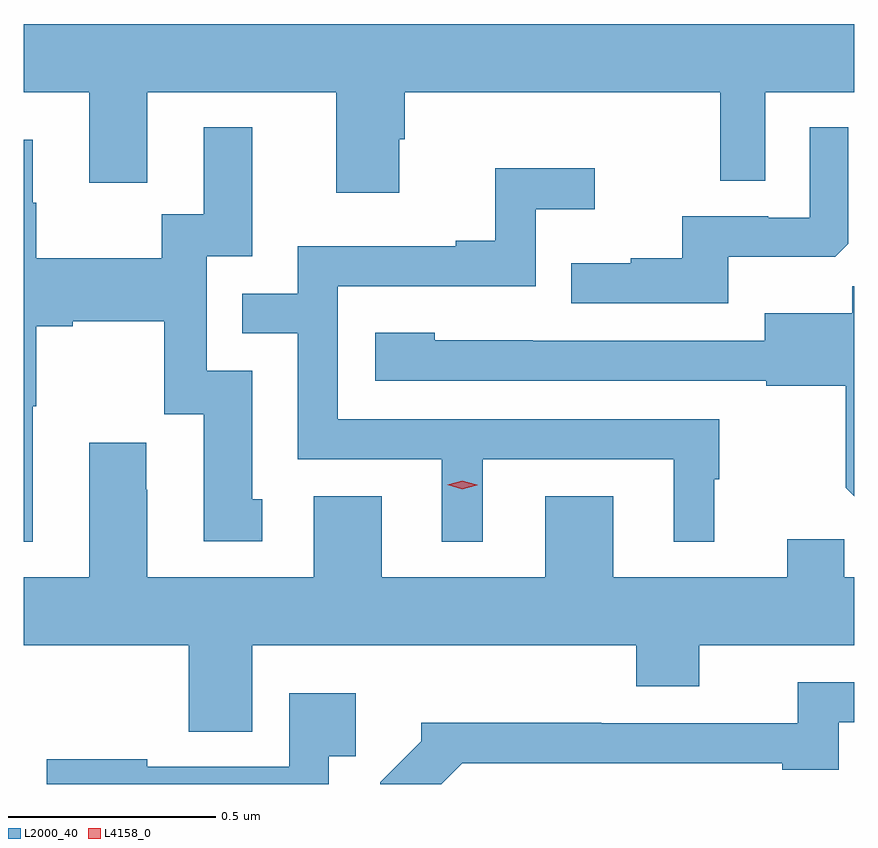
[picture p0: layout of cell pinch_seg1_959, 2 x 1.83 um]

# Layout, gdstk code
import gdstk
lib = gdstk.Library(unit=1e-6, precision=1e-09)
def P(c, l, *ps):  # polygons
    for p in ps: c.add(gdstk.Polygon(p, *l))
L2000_40 = (2000, 40)
L4158_0 = (4158, 0)

pinch_seg1_959 = lib.new_cell('pinch_seg1_959')
P(pinch_seg1_959, L2000_40, [(198.865,579.591),(198.878,579.591),(198.878,579.704),(199.638,579.704),(199.638,579.49),(199.746,579.49),(199.746,579.704),(199.961,579.704),(199.961,579.868),(197.961,579.868),(197.961,579.704),(198.119,579.704),(198.119,579.486),(198.259,579.486),(198.259,579.704),(198.713,579.704),(198.713,579.462),(198.865,579.462)],
  [(199.657,579.308),(199.915,579.308),(199.947,579.339),(199.947,579.619),(199.854,579.619),(199.854,579.402),(199.754,579.402),(199.754,579.405),(199.547,579.405),(199.547,579.304),(199.423,579.304),(199.423,579.292),(199.279,579.292),(199.279,579.195),(199.657,579.195)],
  [(197.983,578.947),(197.991,578.947),(197.991,579.14),(198.079,579.14),(198.079,579.152),(198.299,579.152),(198.299,578.928),(198.395,578.928),(198.395,578.622),(198.535,578.622),(198.535,578.724),(198.511,578.724),(198.511,579.033),(198.402,579.033),(198.402,579.309),(198.511,579.309),(198.511,579.619),(198.395,579.619),(198.395,579.41),(198.294,579.41),(198.294,579.304),(197.991,579.304),(197.991,579.438),(197.983,579.438),(197.983,579.589),(197.961,579.589),(197.961,578.621),(197.983,578.621)],
  [(199.066,578.82),(199.526,578.82),(199.526,578.621),(199.624,578.621),(199.624,578.772),(199.636,578.772),(199.636,578.916),(198.717,578.916),(198.717,579.237),(199.194,579.237),(199.194,579.422),(199.336,579.422),(199.336,579.521),(199.096,579.521),(199.096,579.346),(199.001,579.346),(199.001,579.333),(198.621,579.333),(198.621,579.219),(198.487,579.219),(198.487,579.123),(198.621,579.123),(198.621,578.82),(198.968,578.82),(198.968,578.621),(199.066,578.621)],
  [(199.961,579.236),(199.956,579.236),(199.956,579.172),(199.745,579.172),(199.745,579.105),(199.187,579.105),(199.187,579.106),(198.951,579.106),(198.951,579.124),(198.807,579.124),(198.807,579.009),(199.749,579.009),(199.749,578.997),(199.941,578.997),(199.941,578.751),(199.961,578.731)],
  [(198.511,578.372),(199.436,578.372),(199.436,578.273),(199.588,578.273),(199.588,578.372),(199.961,578.372),(199.961,578.536),(199.937,578.536),(199.937,578.627),(199.799,578.627),(199.799,578.536),(199.381,578.536),(199.381,578.731),(199.217,578.731),(199.217,578.536),(198.823,578.536),(198.823,578.731),(198.659,578.731),(198.659,578.536),(198.259,578.536),(198.259,578.747),(198.256,578.747),(198.256,578.86),(198.119,578.86),(198.119,578.536),(197.961,578.536),(197.961,578.372),(198.359,578.372),(198.359,578.164),(198.511,578.164)],
  [(199.017,578.088),(199.788,578.088),(199.788,578.072),(199.924,578.072),(199.924,578.187),(199.961,578.187),(199.961,578.283),(199.825,578.283),(199.825,578.184),(199.352,578.184),(199.352,578.186),(198.918,578.186),(198.918,578.141),(198.819,578.042),(198.819,578.038),(198.967,578.038)],
  [(198.696,578.105),(198.761,578.105),(198.761,578.257),(198.6,578.257),(198.6,578.079),(198.259,578.079),(198.259,578.098),(198.016,578.098),(198.016,578.038),(198.696,578.038)])
P(pinch_seg1_959, L4158_0, [(199.017,578.748),(198.981,578.759),(198.981,578.759),(198.981,578.759),(199.017,578.768),(199.053,578.758),(199.053,578.757),(199.053,578.757)])

lib.write_gds('pinch_seg1_959.gds')
